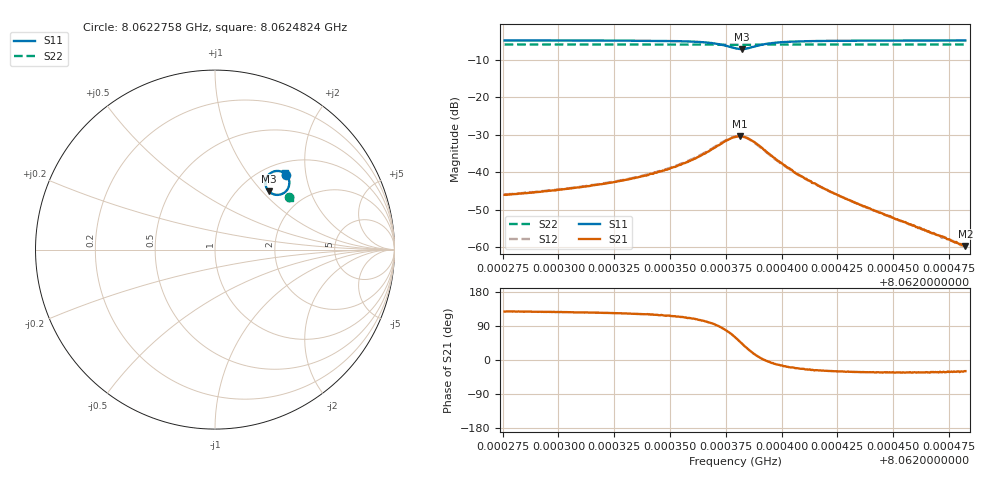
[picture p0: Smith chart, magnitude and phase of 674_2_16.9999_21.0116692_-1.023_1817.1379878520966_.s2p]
#  HZ  S  RI  R  50.00
! Rohde & Schwarz Vector Network Analyzer
! Rohde-Schwarz,ZNB20-2Port,1311601062101988,3.16
! Created: UTC 3/20/2024, 11:22:17 PM
! freq[Hz]  re:S11  im:S11  re:S21  im:S21  re:S12  im:S12  re:S22  im:S22
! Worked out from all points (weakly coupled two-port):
!   401 points, 8.0622758 GHz to 8.0624824 GHz, reference 50 ohm
!   highest |S21| = -30.38 dB at 8.0623812 GHz (marker M1); lowest = -59.7 dB at 8.0624824 GHz (marker M2)
!   lowest |S11| = -7.1 dB at 8.0623822 GHz (marker M3), VSWR 2.58, Z = 67.7 + j54.5 ohm
!   |S11| at or under -10 dB: nowhere
!   |S22| runs from -6.0 to -5.9 dB; largest |S21 - S12| = 0.0033
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8.06227585e9  0.3961 0.4178  -0.00306 0.00393  -0.00287 0.00414  0.4138 0.2958
8.06228979e9  0.3981 0.4155  -0.00329 0.00429  -0.00304 0.00454  0.4145 0.295
8.06231044e9  0.4015 0.4108  -0.0037 0.00515  -0.00342 0.00543  0.4151 0.2939
8.062328e9  0.4055 0.4047  -0.00421 0.00642  -0.00384 0.00677  0.416 0.2927
8.06233936e9  0.4088 0.3981  -0.00458 0.00774  -0.00421 0.00826  0.4163 0.2917
8.06234504e9  0.4107 0.3935  -0.00477 0.00892  -0.0043 0.00931  0.4164 0.2912
8.06235794e9  0.4142 0.3749  -0.00483 0.0128  -0.00424 0.0135  0.4168 0.2896
8.06236466e9  0.4126 0.3571  -0.00414 0.0167  -0.00307 0.0174  0.4167 0.2886
8.06236879e9  0.4068 0.3409  -0.00238 0.0202  -0.000822 0.0206  0.4162 0.2877
8.0623755e9  0.3729 0.3098  0.00608 0.0259  0.00871 0.0257  0.4143 0.2864
8.06237911e9  0.3347 0.3061  0.0147 0.0257  0.0176 0.0244  0.4128 0.2869
8.06238118e9  0.3109 0.3157  0.0197 0.023  0.0221 0.0207  0.4119 0.2878
8.06238221e9  0.3004 0.3242  0.0218 0.0206  0.0238 0.0182  0.4116 0.2882
8.06238428e9  0.2858 0.3462  0.0244 0.0154  0.0256 0.0126  0.4116 0.2892
8.06238686e9  0.2809 0.3752  0.0246 0.00881  0.0251 0.0063  0.412 0.2905
8.06239409e9  0.3065 0.4242  0.0178 -0.00135  0.0174 -0.00265  0.4141 0.2917
8.0623977e9  0.3211 0.4327  0.0144 -0.00299  0.0139 -0.00398  0.4149 0.2918
8.06240596e9  0.3441 0.4382  0.00917 -0.00357  0.00897 -0.00415  0.4164 0.2912
8.06241371e9  0.3568 0.4376  0.00646 -0.00314  0.00626 -0.00355  0.417 0.2907
8.06242765e9  0.3697 0.4346  0.00395 -0.00233  0.00379 -0.00257  0.4179 0.2897
8.0624483e9  0.3794 0.4304  0.00219 -0.00139  0.00205 -0.00148  0.4189 0.2884
8.06248238e9  0.3874 0.4256  0.000899 -0.000507  0.000859 -0.00056  0.4203 0.2862
